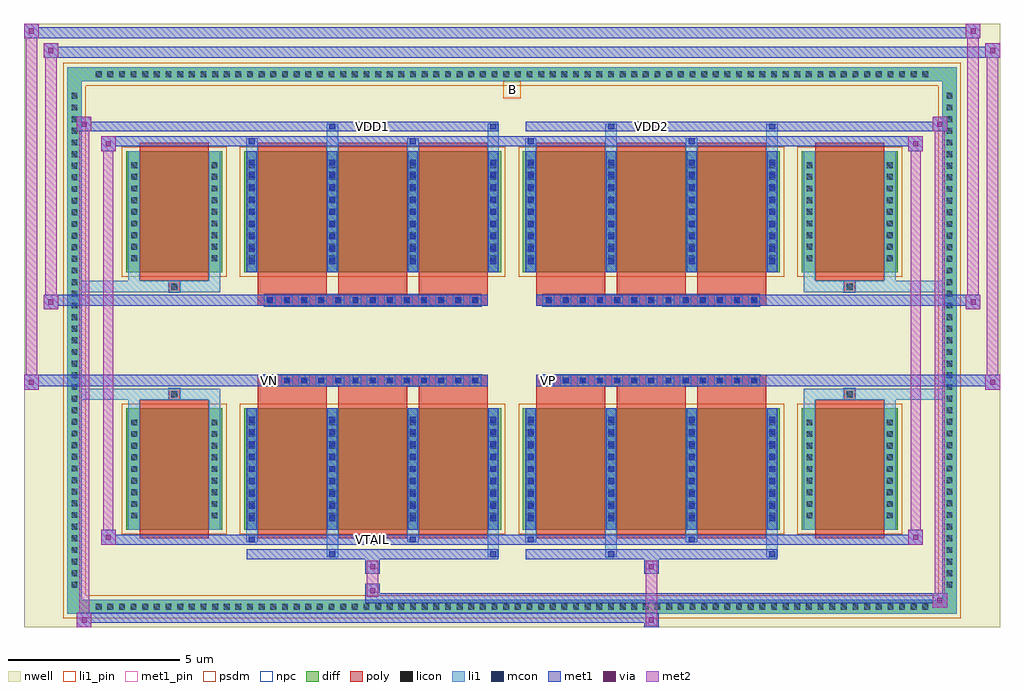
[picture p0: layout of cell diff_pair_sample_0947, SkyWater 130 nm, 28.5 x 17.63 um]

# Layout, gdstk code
import gdstk
lib = gdstk.Library(unit=1e-6, precision=5e-09)
def R(c, l, rs):  # rectangles x0, y0, x1, y1
    for r in rs: c.add(gdstk.rectangle(r[:2], r[2:], *l))
def A(c, l, x, y, w, h, nx, ny, dx, dy):  # array of equal rectangles
    R(c, l, [(x+i*dx, y+j*dy, x+i*dx+w, y+j*dy+h) for i in range(nx) for j in range(ny)])
def P(c, l, *ps):  # polygons
    for p in ps: c.add(gdstk.Polygon(p, *l))
nwell = (64, 20)
diff = (65, 20)
poly = (66, 20)
licon = (66, 44)
li1_pin = (67, 16)
li1 = (67, 20)
mcon = (67, 44)
met1_pin = (68, 16)
met1 = (68, 20)
via = (68, 44)
met2 = (69, 20)
psdm = (94, 20)
npc = (95, 20)

diff_pair_sample_0947 = lib.new_cell('diff_pair_sample_0947')
R(diff_pair_sample_0947, nwell, [(-14.25,-8.38,14.25,9.25), (-11.57,-6.57,-0.01,-0.805), (0.01,-6.57,11.57,-0.805), (-11.57,0.805,-0.01,6.57), (0.01,0.805,11.57,6.57)])
A(diff_pair_sample_0947, diff, -12.275, -7.98, 0.41, 0.41, 72, 2, 0.34, 15.55)
A(diff_pair_sample_0947, diff, -12.98, -7.345, 0.41, 0.41, 1, 43, 0, 0.34)
A(diff_pair_sample_0947, diff, 12.57, -7.345, 0.41, 0.41, 1, 43, 0, 0.34)
R(diff_pair_sample_0947, diff, [(-12.275,-7.98,12.275,-7.57), (-12.98,-7.345,-12.57,7.345), (12.57,-7.345,12.98,7.345), (-11.26,-5.525,-8.46,-1.985), (-7.82,-5.525,-0.32,-1.985), (0.32,-5.525,7.82,-1.985), (8.46,-5.525,11.26,-1.985), (-11.26,1.985,-8.46,5.525), (-7.82,1.985,-0.32,5.525), (0.32,1.985,7.82,5.525), (8.46,1.985,11.26,5.525), (-12.275,7.57,12.275,7.98)])
P(diff_pair_sample_0947, diff, [(12.98,7.98),(-12.98,7.98),(-12.98,-7.57),(-12.57,-7.57),(-12.57,7.57),(12.57,7.57),(12.57,-7.57),(-12.57,-7.57),(-12.98,-7.57),(-12.98,-7.98),(12.98,-7.98)])
A(diff_pair_sample_0947, poly, -7.43, -5.775, 2.02, 4.04, 3, 2, 2.35, 7.51)
A(diff_pair_sample_0947, poly, 0.71, -5.775, 2.02, 4.04, 3, 2, 2.35, 7.51)
A(diff_pair_sample_0947, poly, -7.43, -1.735, 2.02, 0.4, 3, 2, 2.35, 3.07)
A(diff_pair_sample_0947, poly, 0.71, -1.735, 2.02, 0.4, 3, 2, 2.35, 3.07)
A(diff_pair_sample_0947, poly, -7.235, -1.335, 0.33, 0.33, 13, 2, 0.5, 2.34)
A(diff_pair_sample_0947, poly, 0.905, -1.335, 0.33, 0.33, 13, 2, 0.5, 2.34)
R(diff_pair_sample_0947, poly, [(-10.87,-5.775,-8.85,-1.735), (8.85,-5.775,10.87,-1.735), (-10.025,-1.735,-9.695,-1.405), (-10.025,-1.735,-9.695,-1.405), (9.695,-1.735,10.025,-1.405), (9.695,-1.735,10.025,-1.405), (-7.43,-1.335,-0.71,-1.005), (0.71,-1.335,7.43,-1.005), (-7.43,1.005,-0.71,1.335), (0.71,1.005,7.43,1.335), (-10.025,1.405,-9.695,1.735), (-10.025,1.405,-9.695,1.735), (9.695,1.405,10.025,1.735), (9.695,1.405,10.025,1.735), (-10.87,1.735,-8.85,5.775), (8.85,1.735,10.87,5.775)])
A(diff_pair_sample_0947, licon, -12.155, -7.86, 0.17, 0.17, 72, 2, 0.34, 15.55)
A(diff_pair_sample_0947, licon, -12.86, -7.225, 0.17, 0.17, 1, 43, 0, 0.34)
A(diff_pair_sample_0947, licon, 12.69, -7.225, 0.17, 0.17, 1, 43, 0, 0.34)
A(diff_pair_sample_0947, licon, -11.12, -5.2, 0.17, 0.17, 1, 9, 0, 0.34)
A(diff_pair_sample_0947, licon, -8.77, -5.2, 0.17, 0.17, 1, 9, 0, 0.34)
A(diff_pair_sample_0947, licon, -7.68, -5.2, 0.17, 0.17, 4, 9, 2.35, 0.34)
A(diff_pair_sample_0947, licon, 0.46, -5.2, 0.17, 0.17, 4, 9, 2.35, 0.34)
A(diff_pair_sample_0947, licon, 8.6, -5.2, 0.17, 0.17, 1, 9, 0, 0.34)
A(diff_pair_sample_0947, licon, 10.95, -5.2, 0.17, 0.17, 1, 9, 0, 0.34)
A(diff_pair_sample_0947, licon, -7.155, -1.255, 0.17, 0.17, 13, 2, 0.5, 2.34)
A(diff_pair_sample_0947, licon, 0.985, -1.255, 0.17, 0.17, 13, 2, 0.5, 2.34)
A(diff_pair_sample_0947, licon, -11.12, 2.31, 0.17, 0.17, 1, 9, 0, 0.34)
A(diff_pair_sample_0947, licon, -8.77, 2.31, 0.17, 0.17, 1, 9, 0, 0.34)
A(diff_pair_sample_0947, licon, -7.68, 2.31, 0.17, 0.17, 4, 9, 2.35, 0.34)
A(diff_pair_sample_0947, licon, 0.46, 2.31, 0.17, 0.17, 4, 9, 2.35, 0.34)
A(diff_pair_sample_0947, licon, 8.6, 2.31, 0.17, 0.17, 1, 9, 0, 0.34)
A(diff_pair_sample_0947, licon, 10.95, 2.31, 0.17, 0.17, 1, 9, 0, 0.34)
R(diff_pair_sample_0947, licon, [(-9.945,-1.655,-9.775,-1.485), (9.775,-1.655,9.945,-1.485), (-9.945,1.485,-9.775,1.655), (9.775,1.485,9.945,1.655)])
R(diff_pair_sample_0947, li1_pin, [(-0.25,7.07,0.25,7.57)])
A(diff_pair_sample_0947, li1, -12.235, -7.94, 0.33, 0.33, 72, 2, 0.34, 15.55)
A(diff_pair_sample_0947, li1, -12.94, -7.305, 0.33, 0.33, 1, 43, 0, 0.34)
A(diff_pair_sample_0947, li1, 12.61, -7.305, 0.33, 0.33, 1, 43, 0, 0.34)
A(diff_pair_sample_0947, li1, -7.76, -5.525, 0.33, 3.54, 4, 2, 2.35, 7.51)
A(diff_pair_sample_0947, li1, 0.38, -5.525, 0.33, 3.54, 4, 2, 2.35, 7.51)
A(diff_pair_sample_0947, li1, -11.2, -5.28, 0.33, 0.33, 1, 9, 0, 0.34)
A(diff_pair_sample_0947, li1, -8.85, -5.28, 0.33, 0.33, 1, 9, 0, 0.34)
A(diff_pair_sample_0947, li1, -7.76, -5.28, 0.33, 0.33, 4, 9, 2.35, 0.34)
A(diff_pair_sample_0947, li1, -7.68, -5.28, 0.17, 0.17, 4, 9, 2.35, 0.36)
A(diff_pair_sample_0947, li1, -7.68, -5.28, 0.17, 3.05, 4, 2, 2.35, 7.51)
A(diff_pair_sample_0947, li1, 0.38, -5.28, 0.33, 0.33, 4, 9, 2.35, 0.34)
A(diff_pair_sample_0947, li1, 0.46, -5.28, 0.17, 0.17, 4, 9, 2.35, 0.36)
A(diff_pair_sample_0947, li1, 0.46, -5.28, 0.17, 3.05, 4, 2, 2.35, 7.51)
A(diff_pair_sample_0947, li1, 8.52, -5.28, 0.33, 0.33, 1, 9, 0, 0.34)
A(diff_pair_sample_0947, li1, 10.87, -5.28, 0.33, 0.33, 1, 9, 0, 0.34)
A(diff_pair_sample_0947, li1, -7.235, -1.335, 0.33, 0.33, 13, 2, 0.5, 2.34)
A(diff_pair_sample_0947, li1, 0.905, -1.335, 0.33, 0.33, 13, 2, 0.5, 2.34)
A(diff_pair_sample_0947, li1, -11.2, 2.23, 0.33, 0.33, 1, 9, 0, 0.34)
A(diff_pair_sample_0947, li1, -8.85, 2.23, 0.33, 0.33, 1, 9, 0, 0.34)
A(diff_pair_sample_0947, li1, -7.76, 2.23, 0.33, 0.33, 4, 9, 2.35, 0.34)
A(diff_pair_sample_0947, li1, -7.68, 2.23, 0.17, 0.17, 4, 9, 2.35, 0.36)
A(diff_pair_sample_0947, li1, 0.38, 2.23, 0.33, 0.33, 4, 9, 2.35, 0.34)
A(diff_pair_sample_0947, li1, 0.46, 2.23, 0.17, 0.17, 4, 9, 2.35, 0.36)
A(diff_pair_sample_0947, li1, 8.52, 2.23, 0.33, 0.33, 1, 9, 0, 0.34)
A(diff_pair_sample_0947, li1, 10.87, 2.23, 0.33, 0.33, 1, 9, 0, 0.34)
R(diff_pair_sample_0947, li1, [(-12.98,-7.98,-12.57,-7.57), (-12.98,-7.98,-12.57,-7.57), (-12.57,-7.98,12.57,-7.57), (12.57,-7.98,12.98,-7.57), (12.57,-7.98,12.98,-7.57), (-12.98,-7.57,-12.57,7.57), (12.57,-7.57,12.98,7.57), (-5.41,-6.33,-5.08,-5.525), (-5.33,-6.33,-5.16,-6.16), (-0.71,-6.33,-0.38,-5.525), (-0.63,-6.33,-0.46,-6.16), (2.73,-6.33,3.06,-5.525), (2.81,-6.33,2.98,-6.16), (7.43,-6.33,7.76,-5.525), (7.51,-6.33,7.68,-6.16), (-7.76,-5.9,-7.43,-5.525), (-7.68,-5.9,-7.51,-5.73), (-3.06,-5.9,-2.73,-5.525), (-2.98,-5.9,-2.81,-5.73), (0.38,-5.9,0.71,-5.525), (0.46,-5.9,0.63,-5.73), (5.08,-5.9,5.41,-5.525), (5.16,-5.9,5.33,-5.73), (-11.2,-5.525,-10.87,-1.985), (-8.85,-5.525,-8.52,-1.985), (8.52,-5.525,8.85,-1.985), (10.87,-5.525,11.2,-1.985), (-11.2,-1.985,-10.87,-1.405), (-8.85,-1.985,-8.52,-1.405), (8.52,-1.985,8.85,-1.405), (10.87,-1.985,11.2,-1.405), (-12.98,-1.735,-10.025,-1.405), (-11.2,-1.735,-10.025,-1.405), (-10.025,-1.735,-9.695,-1.405), (-9.695,-1.735,-8.52,-1.405), (8.52,-1.735,9.695,-1.405), (9.695,-1.735,10.025,-1.405), (9.695,-1.735,12.98,-1.405), (10.025,-1.735,11.2,-1.405), (-12.98,1.405,-10.025,1.735), (-11.2,1.405,-10.025,1.735), (-11.2,1.405,-10.87,1.985), (-10.025,1.405,-9.695,1.735), (-9.695,1.405,-8.52,1.735), (-8.85,1.405,-8.52,1.985), (8.52,1.405,9.695,1.735), (8.52,1.405,8.85,1.985), (9.695,1.405,10.025,1.735), (9.695,1.405,12.98,1.735), (10.025,1.405,11.2,1.735), (10.87,1.405,11.2,1.985), (-11.2,1.985,-10.87,5.525), (-8.85,1.985,-8.52,5.525), (8.52,1.985,8.85,5.525), (10.87,1.985,11.2,5.525), (-7.76,5.525,-7.43,5.9), (-5.41,5.525,-5.08,6.33), (-3.06,5.525,-2.73,5.9), (-0.71,5.525,-0.38,6.33), (0.38,5.525,0.71,5.9), (2.73,5.525,3.06,6.33), (5.08,5.525,5.41,5.9), (7.43,5.525,7.76,6.33), (-7.68,5.73,-7.51,5.9), (-2.98,5.73,-2.81,5.9), (0.46,5.73,0.63,5.9), (5.16,5.73,5.33,5.9), (-5.33,6.16,-5.16,6.33), (-0.63,6.16,-0.46,6.33), (2.81,6.16,2.98,6.33), (7.51,6.16,7.68,6.33), (-12.98,7.57,-12.57,7.98), (-12.98,7.57,-12.57,7.98), (-12.57,7.57,12.57,7.98), (12.57,7.57,12.98,7.98), (12.57,7.57,12.98,7.98)])
A(diff_pair_sample_0947, mcon, -7.68, -5.28, 0.17, 0.17, 4, 9, 2.35, 0.36)
A(diff_pair_sample_0947, mcon, 0.46, -5.28, 0.17, 0.17, 4, 9, 2.35, 0.36)
A(diff_pair_sample_0947, mcon, -7.155, -1.255, 0.17, 0.17, 13, 2, 0.5, 2.34)
A(diff_pair_sample_0947, mcon, 0.985, -1.255, 0.17, 0.17, 13, 2, 0.5, 2.34)
A(diff_pair_sample_0947, mcon, -7.68, 2.23, 0.17, 0.17, 4, 9, 2.35, 0.36)
A(diff_pair_sample_0947, mcon, 0.46, 2.23, 0.17, 0.17, 4, 9, 2.35, 0.36)
R(diff_pair_sample_0947, mcon, [(-5.33,-6.33,-5.16,-6.16), (-0.63,-6.33,-0.46,-6.16), (2.81,-6.33,2.98,-6.16), (7.51,-6.33,7.68,-6.16), (-7.68,-5.9,-7.51,-5.73), (-2.98,-5.9,-2.81,-5.73), (0.46,-5.9,0.63,-5.73), (5.16,-5.9,5.33,-5.73), (-7.68,5.73,-7.51,5.9), (-2.98,5.73,-2.81,5.9), (0.46,5.73,0.63,5.9), (5.16,5.73,5.33,5.9), (-5.33,6.16,-5.16,6.33), (-0.63,6.16,-0.46,6.33), (2.81,6.16,2.98,6.33), (7.51,6.16,7.68,6.33)])
R(diff_pair_sample_0947, met1_pin, [(-4.205,-5.94,-3.935,-5.67), (-7.205,-1.295,-6.935,-1.025), (0.935,-1.295,1.205,-1.025), (-4.205,6.12,-3.935,6.39), (3.935,6.12,4.205,6.39)])
A(diff_pair_sample_0947, met1, -7.74, -5.525, 0.29, 3.54, 4, 2, 2.35, 7.51)
A(diff_pair_sample_0947, met1, 0.4, -5.525, 0.29, 3.54, 4, 2, 2.35, 7.51)
A(diff_pair_sample_0947, met1, -7.74, -5.34, 0.29, 0.29, 4, 9, 2.35, 0.36)
A(diff_pair_sample_0947, met1, 0.4, -5.34, 0.29, 0.29, 4, 9, 2.35, 0.36)
A(diff_pair_sample_0947, met1, -7.215, -1.315, 0.29, 0.29, 13, 2, 0.5, 2.34)
A(diff_pair_sample_0947, met1, 0.925, -1.315, 0.29, 0.29, 13, 2, 0.5, 2.34)
A(diff_pair_sample_0947, met1, -7.74, 2.17, 0.29, 0.29, 4, 9, 2.35, 0.36)
A(diff_pair_sample_0947, met1, 0.4, 2.17, 0.29, 0.29, 4, 9, 2.35, 0.36)
R(diff_pair_sample_0947, met1, [(-12.71,-8.38,-12.28,-7.95), (3.855,-8.38,4.285,-7.95), (-12.71,-8.24,4.285,-7.95), (12.28,-7.81,12.71,-7.38), (-4.285,-7.67,12.71,-7.38), (-4.285,-7.53,-3.855,-7.1), (-4.285,-6.82,-3.855,-6.39), (3.855,-6.82,4.285,-6.39), (-7.74,-6.39,-0.4,-6.1), (-5.39,-6.39,-5.1,-6.1), (-0.69,-6.39,-0.4,-6.1), (0.4,-6.39,7.74,-6.1), (2.75,-6.39,3.04,-6.1), (7.45,-6.39,7.74,-6.1), (-12,-5.96,-11.57,-5.53), (-12,-5.96,-7.74,-5.67), (-7.74,-5.96,-7.45,-5.67), (-7.74,-5.96,-0.4,-5.67), (-3.04,-5.96,-2.75,-5.67), (-0.4,-5.96,0.4,-5.67), (0.4,-5.96,0.69,-5.67), (0.4,-5.96,7.74,-5.67), (5.1,-5.96,5.39,-5.67), (7.74,-5.96,12,-5.67), (11.57,-5.96,12,-5.53), (-14.25,-1.435,-13.82,-1.005), (13.82,-1.435,14.25,-1.005), (-14.25,-1.335,-0.71,-1.005), (-7.43,-1.335,-0.71,-1.005), (0.71,-1.335,7.43,-1.005), (0.71,-1.335,14.25,-1.005), (-13.68,0.905,-13.25,1.335), (13.25,0.905,13.68,1.335), (-13.68,1.005,-7.43,1.335), (-7.43,1.005,-0.71,1.335), (0.71,1.005,7.43,1.335), (7.43,1.005,13.68,1.335), (-12,5.53,-11.57,5.96), (11.57,5.53,12,5.96), (-12,5.67,-7.74,5.96), (-7.74,5.67,-7.45,5.96), (-7.74,5.67,-0.4,5.96), (-3.04,5.67,-2.75,5.96), (-0.4,5.67,0.4,5.96), (0.4,5.67,0.69,5.96), (0.4,5.67,7.74,5.96), (5.1,5.67,5.39,5.96), (7.74,5.67,12,5.96), (-12.71,6.1,-12.28,6.53), (-12.71,6.1,-7.74,6.39), (-7.74,6.1,-0.4,6.39), (-5.39,6.1,-5.1,6.39), (-0.69,6.1,-0.4,6.39), (0.4,6.1,7.74,6.39), (2.75,6.1,3.04,6.39), (7.45,6.1,7.74,6.39), (7.74,6.1,12.71,6.39), (12.28,6.1,12.71,6.53), (-13.68,8.25,-13.25,8.68), (-13.68,8.25,-11.57,8.58), (-11.57,8.25,11.57,8.58), (11.57,8.25,14.25,8.58), (13.82,8.25,14.25,8.68), (-14.25,8.82,-13.82,9.25), (-14.25,8.82,-11.57,9.15), (-11.57,8.82,11.57,9.15), (11.57,8.82,13.68,9.15), (13.25,8.82,13.68,9.25)])
R(diff_pair_sample_0947, via, [(-12.57,-8.24,-12.42,-8.09), (3.995,-8.24,4.145,-8.09), (12.42,-7.67,12.57,-7.52), (-4.145,-7.39,-3.995,-7.24), (-4.145,-6.68,-3.995,-6.53), (3.995,-6.68,4.145,-6.53), (-11.86,-5.82,-11.71,-5.67), (11.71,-5.82,11.86,-5.67), (-14.11,-1.295,-13.96,-1.145), (13.96,-1.295,14.11,-1.145), (-13.54,1.045,-13.39,1.195), (13.39,1.045,13.54,1.195), (-11.86,5.67,-11.71,5.82), (11.71,5.67,11.86,5.82), (-12.57,6.24,-12.42,6.39), (12.42,6.24,12.57,6.39), (-13.54,8.39,-13.39,8.54), (13.96,8.39,14.11,8.54), (-14.11,8.96,-13.96,9.11), (13.39,8.96,13.54,9.11)])
R(diff_pair_sample_0947, met2, [(-12.71,-8.38,-12.28,-7.95), (-12.64,-8.38,-12.35,6.53), (-12.35,-8.38,-12.28,-7.95), (-12.66,-8.33,-12.33,-8), (3.905,-8.33,4.235,-8), (3.905,-8,4.235,-6.77), (12.28,-7.81,12.71,-7.38), (12.35,-7.81,12.64,6.53), (12.64,-7.81,12.71,-7.38), (12.33,-7.76,12.66,-7.43), (-4.235,-7.48,-3.905,-7.15), (-4.235,-7.15,-3.905,-6.77), (-4.235,-6.77,-3.905,-6.44), (3.905,-6.77,4.235,-6.44), (-12,-5.96,-11.57,-5.53), (-11.93,-5.96,-11.64,5.96), (-11.64,-5.96,-11.57,-5.53), (11.57,-5.96,12,-5.53), (11.64,-5.96,11.93,5.96), (11.93,-5.96,12,-5.53), (-11.95,-5.91,-11.62,-5.58), (11.62,-5.91,11.95,-5.58), (-14.25,-1.435,-13.82,-1.005), (-14.2,-1.435,-13.87,9.25), (-13.87,-1.435,-13.82,-1.005), (13.82,-1.435,14.25,-1.005), (13.87,-1.435,14.2,8.68), (14.2,-1.435,14.25,-1.005), (-14.2,-1.385,-13.87,-1.055), (13.87,-1.385,14.2,-1.055), (-13.68,0.905,-13.25,1.335), (-13.63,0.905,-13.3,8.68), (-13.3,0.905,-13.25,1.335), (13.25,0.905,13.68,1.335), (13.3,0.905,13.63,9.25), (13.63,0.905,13.68,1.335), (-13.63,0.955,-13.3,1.285), (13.3,0.955,13.63,1.285), (-12,5.53,-11.57,5.96), (-11.64,5.53,-11.57,5.96), (11.57,5.53,12,5.96), (11.93,5.53,12,5.96), (-11.95,5.58,-11.62,5.91), (11.62,5.58,11.95,5.91), (-12.71,6.1,-12.28,6.53), (-12.35,6.1,-12.28,6.53), (12.28,6.1,12.71,6.53), (12.64,6.1,12.71,6.53), (-12.66,6.15,-12.33,6.48), (12.33,6.15,12.66,6.48), (-13.68,8.25,-13.25,8.68), (-13.3,8.25,-13.25,8.68), (13.82,8.25,14.25,8.68), (14.2,8.25,14.25,8.68), (-13.63,8.3,-13.3,8.63), (13.87,8.3,14.2,8.63), (-14.25,8.82,-13.82,9.25), (-13.87,8.82,-13.82,9.25), (13.25,8.82,13.68,9.25), (13.63,8.82,13.68,9.25), (-14.2,8.87,-13.87,9.2), (13.3,8.87,13.63,9.2)])
R(diff_pair_sample_0947, psdm, [(-11.39,-5.655,-8.33,-1.855), (-7.95,-5.655,-0.19,-1.855), (0.19,-5.655,7.95,-1.855), (8.33,-5.655,11.39,-1.855), (-11.39,1.855,-8.33,5.655), (-7.95,1.855,-0.19,5.655), (0.19,1.855,7.95,5.655), (8.33,1.855,11.39,5.655)])
P(diff_pair_sample_0947, psdm, [(13.11,8.11),(-13.11,8.11),(-13.11,-7.44),(-12.44,-7.44),(-12.44,7.44),(12.44,7.44),(12.44,-7.44),(-12.44,-7.44),(-13.11,-7.44),(-13.11,-8.11),(13.11,-8.11)])
A(diff_pair_sample_0947, npc, -7.255, -1.355, 0.37, 0.37, 13, 2, 0.5, 2.34)
A(diff_pair_sample_0947, npc, 0.885, -1.355, 0.37, 0.37, 13, 2, 0.5, 2.34)
R(diff_pair_sample_0947, npc, [(-10.045,-1.755,-9.675,-1.385), (9.675,-1.755,10.045,-1.385), (-7.255,-1.355,-6.385,-0.985), (-7.255,-1.355,-6.385,-0.985), (-6.755,-1.355,-5.885,-0.985), (-6.755,-1.355,-5.885,-0.985), (-6.255,-1.355,-5.385,-0.985), (-6.255,-1.355,-5.385,-0.985), (-5.755,-1.355,-4.885,-0.985), (-5.755,-1.355,-4.885,-0.985), (-5.255,-1.355,-4.385,-0.985), (-5.255,-1.355,-4.385,-0.985), (-4.755,-1.355,-3.885,-0.985), (-4.755,-1.355,-3.885,-0.985), (-4.255,-1.355,-3.385,-0.985), (-4.255,-1.355,-3.385,-0.985), (-3.755,-1.355,-2.885,-0.985), (-3.755,-1.355,-2.885,-0.985), (-3.255,-1.355,-2.385,-0.985), (-3.255,-1.355,-2.385,-0.985), (-2.755,-1.355,-1.885,-0.985), (-2.755,-1.355,-1.885,-0.985), (-2.255,-1.355,-1.385,-0.985), (-2.255,-1.355,-1.385,-0.985), (-1.755,-1.355,-0.885,-0.985), (-1.755,-1.355,-0.885,-0.985), (0.885,-1.355,1.755,-0.985), (0.885,-1.355,1.755,-0.985), (1.385,-1.355,2.255,-0.985), (1.385,-1.355,2.255,-0.985), (1.885,-1.355,2.755,-0.985), (1.885,-1.355,2.755,-0.985), (2.385,-1.355,3.255,-0.985), (2.385,-1.355,3.255,-0.985), (2.885,-1.355,3.755,-0.985), (2.885,-1.355,3.755,-0.985), (3.385,-1.355,4.255,-0.985), (3.385,-1.355,4.255,-0.985), (3.885,-1.355,4.755,-0.985), (3.885,-1.355,4.755,-0.985), (4.385,-1.355,5.255,-0.985), (4.385,-1.355,5.255,-0.985), (4.885,-1.355,5.755,-0.985), (4.885,-1.355,5.755,-0.985), (5.385,-1.355,6.255,-0.985), (5.385,-1.355,6.255,-0.985), (5.885,-1.355,6.755,-0.985), (5.885,-1.355,6.755,-0.985), (6.385,-1.355,7.255,-0.985), (6.385,-1.355,7.255,-0.985), (-7.255,0.985,-6.385,1.355), (-7.255,0.985,-6.385,1.355), (-6.755,0.985,-5.885,1.355), (-6.755,0.985,-5.885,1.355), (-6.255,0.985,-5.385,1.355), (-6.255,0.985,-5.385,1.355), (-5.755,0.985,-4.885,1.355), (-5.755,0.985,-4.885,1.355), (-5.255,0.985,-4.385,1.355), (-5.255,0.985,-4.385,1.355), (-4.755,0.985,-3.885,1.355), (-4.755,0.985,-3.885,1.355), (-4.255,0.985,-3.385,1.355), (-4.255,0.985,-3.385,1.355), (-3.755,0.985,-2.885,1.355), (-3.755,0.985,-2.885,1.355), (-3.255,0.985,-2.385,1.355), (-3.255,0.985,-2.385,1.355), (-2.755,0.985,-1.885,1.355), (-2.755,0.985,-1.885,1.355), (-2.255,0.985,-1.385,1.355), (-2.255,0.985,-1.385,1.355), (-1.755,0.985,-0.885,1.355), (-1.755,0.985,-0.885,1.355), (0.885,0.985,1.755,1.355), (0.885,0.985,1.755,1.355), (1.385,0.985,2.255,1.355), (1.385,0.985,2.255,1.355), (1.885,0.985,2.755,1.355), (1.885,0.985,2.755,1.355), (2.385,0.985,3.255,1.355), (2.385,0.985,3.255,1.355), (2.885,0.985,3.755,1.355), (2.885,0.985,3.755,1.355), (3.385,0.985,4.255,1.355), (3.385,0.985,4.255,1.355), (3.885,0.985,4.755,1.355), (3.885,0.985,4.755,1.355), (4.385,0.985,5.255,1.355), (4.385,0.985,5.255,1.355), (4.885,0.985,5.755,1.355), (4.885,0.985,5.755,1.355), (5.385,0.985,6.255,1.355), (5.385,0.985,6.255,1.355), (5.885,0.985,6.755,1.355), (5.885,0.985,6.755,1.355), (6.385,0.985,7.255,1.355), (6.385,0.985,7.255,1.355), (-10.045,1.385,-9.675,1.755), (9.675,1.385,10.045,1.755)])
diff_pair_sample_0947.add(gdstk.Label('VTAIL', (-4.07,-5.805), layer=68, texttype=5))
diff_pair_sample_0947.add(gdstk.Label('VN', (-7.07,-1.16), layer=68, texttype=5))
diff_pair_sample_0947.add(gdstk.Label('VP', (1.07,-1.16), layer=68, texttype=5))
diff_pair_sample_0947.add(gdstk.Label('B', (0,7.32), layer=67, texttype=5))
diff_pair_sample_0947.add(gdstk.Label('VDD2', (4.07,6.255), layer=68, texttype=5))
diff_pair_sample_0947.add(gdstk.Label('VDD1', (-4.07,6.255), layer=68, texttype=5))

lib.write_gds('diff_pair_sample_0947.gds')
